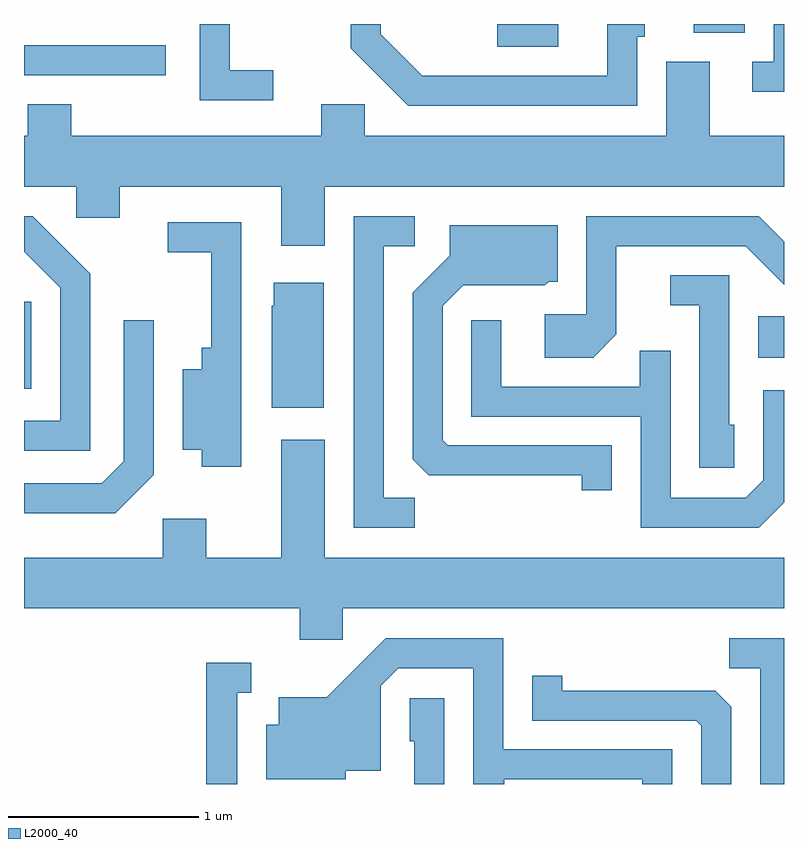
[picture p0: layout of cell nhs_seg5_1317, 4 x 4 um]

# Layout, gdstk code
import gdstk
lib = gdstk.Library(unit=1e-6, precision=1e-09)
def R(c, l, rs):  # rectangles x0, y0, x1, y1
    for r in rs: c.add(gdstk.rectangle(r[:2], r[2:], *l))
def P(c, l, *ps):  # polygons
    for p in ps: c.add(gdstk.Polygon(p, *l))
L2000_40 = (2000, 40)

nhs_seg5_1317 = lib.new_cell('nhs_seg5_1317')
R(nhs_seg5_1317, L2000_40, [(223.611,1480.151,223.649,1480.609), (227.476,1480.316,227.611,1480.534), (223.611,1481.801,224.358,1481.959), (226.101,1481.951,226.423,1482.072), (227.136,1482.026,227.404,1482.072)])
P(nhs_seg5_1317, L2000_40, [(226.839,1482.006),(226.879,1482.006),(226.879,1482.072),(226.681,1482.072),(226.681,1481.799),(225.707,1481.799),(225.489,1482.017),(225.489,1482.072),(225.331,1482.072),(225.331,1481.944),(225.634,1481.641),(226.839,1481.641)],
  [(227.611,1482.072),(227.556,1482.072),(227.556,1481.874),(227.443,1481.874),(227.443,1481.716),(227.611,1481.716)],
  [(224.923,1481.829),(224.694,1481.829),(224.694,1482.072),(224.536,1482.072),(224.536,1481.671),(224.923,1481.671)],
  [(225.194,1481.216),(227.611,1481.216),(227.611,1481.484),(227.219,1481.484),(227.219,1481.874),(226.991,1481.874),(226.991,1481.484),(225.404,1481.484),(225.404,1481.649),(225.176,1481.649),(225.176,1481.484),(223.859,1481.484),(223.859,1481.649),(223.631,1481.649),(223.631,1481.484),(223.611,1481.484),(223.611,1481.216),(223.886,1481.216),(223.886,1481.051),(224.114,1481.051),(224.114,1481.216),(224.966,1481.216),(224.966,1480.906),(225.194,1480.906)],
  [(223.959,1480.757),(223.657,1481.059),(223.611,1481.059),(223.611,1480.874),(223.801,1480.684),(223.801,1479.984),(223.611,1479.984),(223.611,1479.826),(223.959,1479.826)],
  [(226.729,1480.439),(226.729,1480.901),(227.409,1480.901),(227.611,1480.699),(227.611,1480.925),(227.477,1481.059),(226.571,1481.059),(226.571,1480.544),(226.351,1480.544),(226.351,1480.316),(226.607,1480.316)],
  [(225.668,1479.579),(225.504,1479.579),(225.504,1480.901),(225.668,1480.901),(225.668,1481.059),(225.346,1481.059),(225.346,1479.421),(225.668,1479.421)],
  [(224.754,1481.029),(224.368,1481.029),(224.368,1480.871),(224.596,1480.871),(224.596,1480.369),(224.546,1480.369),(224.546,1480.254),(224.446,1480.254),(224.446,1479.831),(224.546,1479.831),(224.546,1479.741),(224.754,1479.741)],
  [(226.704,1479.854),(225.842,1479.854),(225.814,1479.882),(225.814,1480.589),(225.922,1480.696),(226.352,1480.696),(226.372,1480.716),(226.419,1480.716),(226.419,1481.014),(225.851,1481.014),(225.851,1480.852),(225.656,1480.657),(225.656,1479.782),(225.742,1479.696),(226.546,1479.696),(226.546,1479.618),(226.704,1479.618)],
  [(227.349,1479.964),(227.324,1479.964),(227.324,1480.749),(227.013,1480.749),(227.013,1480.591),(227.166,1480.591),(227.166,1479.736),(227.349,1479.736)],
  [(225.189,1480.709),(224.926,1480.709),(224.926,1480.59),(224.916,1480.59),(224.916,1480.051),(225.189,1480.051)],
  [(224.294,1479.699),(224.294,1480.513),(224.136,1480.513),(224.136,1479.772),(224.019,1479.654),(223.611,1479.654),(223.611,1479.496),(224.092,1479.496)],
  [(227.611,1479.555),(227.611,1480.144),(227.501,1480.144),(227.501,1479.672),(227.409,1479.579),(227.014,1479.579),(227.014,1480.353),(226.851,1480.353),(226.851,1480.164),(226.124,1480.164),(226.124,1480.513),(225.966,1480.513),(225.966,1480.006),(226.856,1480.006),(226.856,1479.421),(227.477,1479.421)],
  [(225.194,1479.884),(224.966,1479.884),(224.966,1479.264),(224.569,1479.264),(224.569,1479.469),(224.341,1479.469),(224.341,1479.264),(223.611,1479.264),(223.611,1478.996),(225.061,1478.996),(225.061,1478.831),(225.289,1478.831),(225.289,1478.996),(227.611,1478.996),(227.611,1479.264),(225.194,1479.264)],
  [(226.139,1478.096),(226.866,1478.096),(226.866,1478.072),(227.024,1478.072),(227.024,1478.254),(226.134,1478.254),(226.134,1478.839),(225.514,1478.839),(225.204,1478.529),(224.951,1478.529),(224.951,1478.384),(224.886,1478.384),(224.886,1478.096),(225.304,1478.096),(225.304,1478.141),(225.489,1478.141),(225.489,1478.589),(225.582,1478.681),(225.976,1478.681),(225.976,1478.072),(226.139,1478.072)],
  [(227.611,1478.839),(227.323,1478.839),(227.323,1478.681),(227.486,1478.681),(227.486,1478.072),(227.611,1478.072)],
  [(224.734,1478.551),(224.808,1478.551),(224.808,1478.709),(224.571,1478.709),(224.571,1478.072),(224.734,1478.072)],
  [(227.334,1478.479),(227.249,1478.564),(226.444,1478.564),(226.444,1478.643),(226.286,1478.643),(226.286,1478.406),(227.149,1478.406),(227.176,1478.379),(227.176,1478.072),(227.334,1478.072)],
  [(225.824,1478.524),(225.641,1478.524),(225.641,1478.296),(225.666,1478.296),(225.666,1478.072),(225.824,1478.072)])

lib.write_gds('nhs_seg5_1317.gds')
